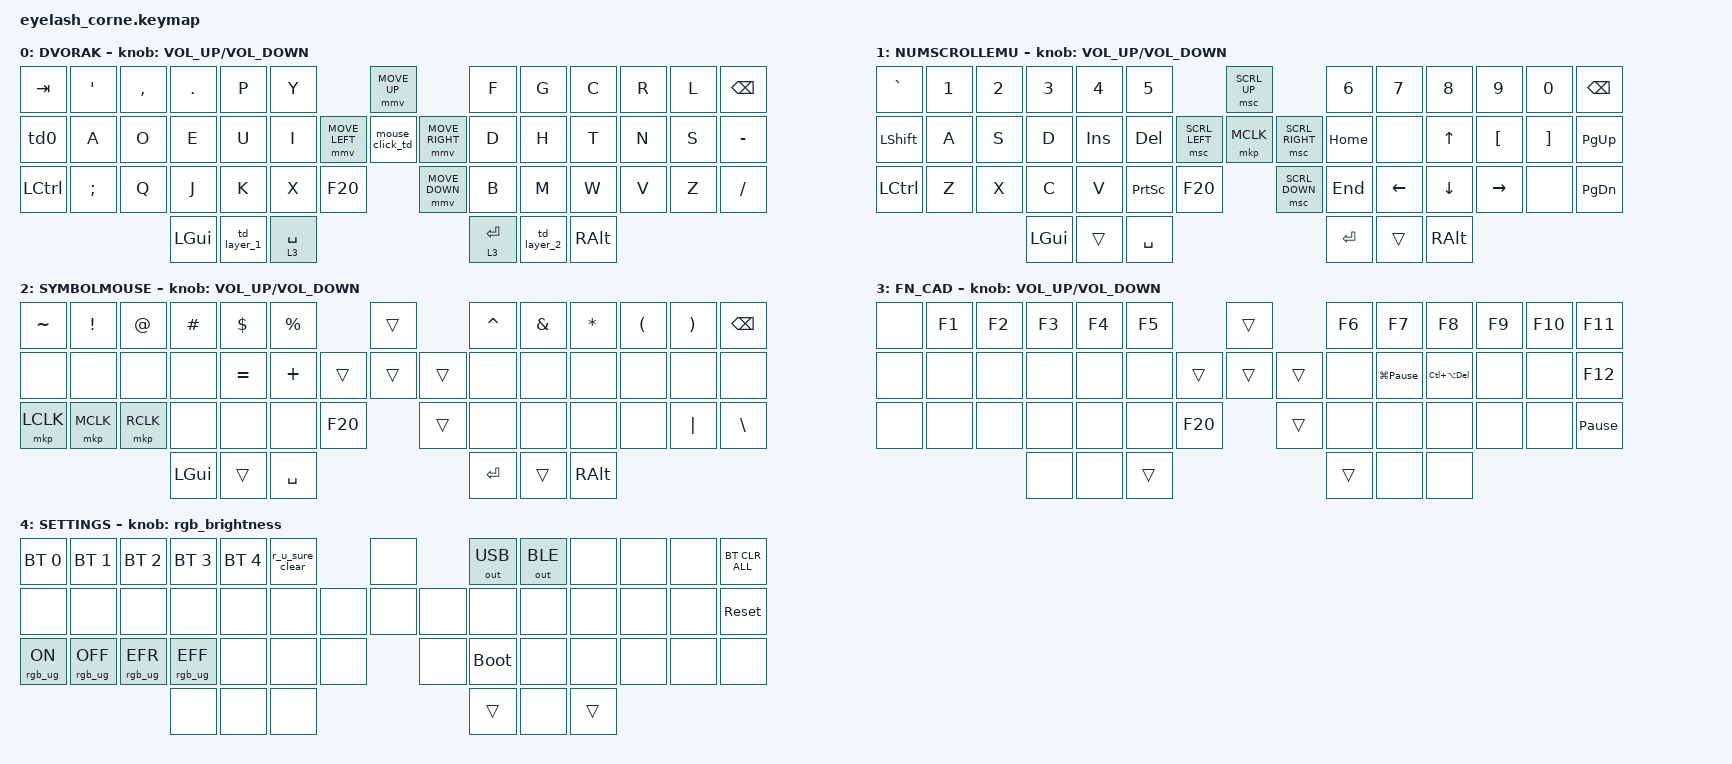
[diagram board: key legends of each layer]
#include <dt-bindings/zmk/mouse.h>
#include <input/processors.dtsi>
#include <behaviors.dtsi>
#include <dt-bindings/zmk/bt.h>
#include <dt-bindings/zmk/keys.h>
#include <dt-bindings/zmk/outputs.h>
#include <dt-bindings/zmk/pointing.h>
#include <dt-bindings/zmk/rgb.h>

/*

   &mmv_input_listener {
       input-processors = <&zip_xy_scaler 2 1>;
   };

   &msc_input_listener {
       input-processors = <&zip_xy_scaler 2 1>;
   };

 */

#define ZMK_MOUSE_DEFAULT_MOVE_VAL 1200  // 600
#define ZMK_MOUSE_DEFAULT_SCRL_VAL 20    // 10

/ {
    behaviors {
        td0: td0 {
            compatible = "zmk,behavior-tap-dance";
            display-name = "Shift/Caps Lock Tap Dance";
            #binding-cells = <0>;
            bindings = <&kp LEFT_SHIFT>, <&kp CAPS>;
        };

        mouse_click_td: mouse_click_td {
            compatible = "zmk,behavior-tap-dance";
            label = "MOUSE_CLICK_TD";
            #binding-cells = <0>;
            bindings = <&mkp LCLK>, <&mkp RCLK>;
        };

        rgb_brightness: rgb_brightness {
            compatible = "zmk,behavior-sensor-rotate";
            label = "RGB_BRIGHTNESS";
            #sensor-binding-cells = <0>;
            bindings = <&rgb_ug RGB_BRI>, <&rgb_ug RGB_BRD>;
        };

        td_layer_1: td_layer_1 {
            compatible = "zmk,behavior-tap-dance";
            label = "TD_LAYER_1";
            #binding-cells = <0>;
            bindings = <&mo 1>, <&tog 1>;
        };

        td_layer_2: td_layer_2 {
            compatible = "zmk,behavior-tap-dance";
            label = "TD_LAYER_2";
            #binding-cells = <0>;
            bindings = <&mo 2>, <&tog 2>;
        };

        r_u_sure_clear: r_u_sure_clear {
            compatible = "zmk,behavior-tap-dance";
            label = "R_U_SURE_CLEAR";
            #binding-cells = <0>;
            bindings = <&none>, <&bt BT_CLR>;
        };
    };

    rgb_encoder: rgb_encoder {
        compatible = "zmk,behavior-sensor-rotate";
        #sensor-binding-cells = <0>;
        bindings = <&rgb_ug RGB_BRI>, <&rgb_ug RGB_BRD>;
    };

    scroll_encoder: scroll_encoder {
        compatible = "zmk,behavior-sensor-rotate";
        #sensor-binding-cells = <0>;
        bindings = <&msc SCRL_DOWN>, <&msc SCRL_UP>;

        tap-ms = <30>;
    };

    combos {
        compatible = "zmk,combos";

        double_key_escape {
            bindings = <&kp ESCAPE>;
            key-positions = <0 1>;
            layers = <2>;
        };

        settings_layer_activate {
            bindings = <&mo 4>;
            key-positions = <45 47>;
        };

        to_default_layer {
            bindings = <&to 0>;
            key-positions = <42 44>;
        };
    };

    keymap {
        compatible = "zmk,keymap";

        default_layer {
            display-name = "DVORAK";
            bindings = <
&kp TAB    &kp SQT        &kp COMMA  &kp PERIOD  &kp P        &kp Y                                   &mmv MOVE_UP                      &kp F        &kp G        &kp C     &kp R  &kp L  &kp BSPC
&td0       &kp A          &kp O      &kp E       &kp U        &kp I                   &mmv MOVE_LEFT  &mouse_click_td  &mmv MOVE_RIGHT  &kp D        &kp H        &kp T     &kp N  &kp S  &kp MINUS
&kp LCTRL  &kp SEMICOLON  &kp Q      &kp J       &kp K        &kp X        &kp F20                    &mmv MOVE_DOWN                    &kp B        &kp M        &kp W     &kp V  &kp Z  &kp SLASH
                                     &kp LGUI    &td_layer_1  &lt 3 SPACE                                                               &lt 3 ENTER  &td_layer_2  &kp RALT
            >;

            sensor-bindings = <&inc_dec_kp C_VOLUME_UP C_VOLUME_DOWN>;
        };

        lower_layer {
            display-name = "NUMSCROLLEMU";
            bindings = <
&kp GRAVE       &kp N1  &kp N2  &kp N3        &kp N4      &kp N5                                      &msc SCRL_UP                     &kp N6     &kp N7    &kp N8    &kp N9            &kp N0             &kp BSPC
&kp LEFT_SHIFT  &kp A   &kp S   &kp D         &kp INSERT  &kp DELETE                  &msc SCRL_LEFT  &mkp MCLK       &msc SCRL_RIGHT  &kp HOME   &none     &kp UP    &kp LEFT_BRACKET  &kp RIGHT_BRACKET  &kp PG_UP
&kp LCTRL       &kp Z   &kp X   &kp C         &kp V       &kp PRINTSCREEN  &kp F20                    &msc SCRL_DOWN                   &kp END    &kp LEFT  &kp DOWN  &kp RIGHT         &none              &kp PG_DN
                                &kp LEFT_GUI  &trans      &kp SPACE                                                                    &kp ENTER  &trans    &kp RALT
            >;

            sensor-bindings = <&inc_dec_kp C_VOLUME_UP C_VOLUME_DOWN>;
        };

        raise_layer {
            display-name = "SYMBOLMOUSE";
            bindings = <
&kp TILDE  &kp EXCL   &kp AT     &kp HASH      &kp DLLR   &kp PRCNT                     &trans          &kp CARET  &kp AMPS  &kp ASTRK  &kp LEFT_PARENTHESIS  &kp RIGHT_PARENTHESIS  &kp BSPC
&none      &none      &none      &none         &kp EQUAL  &kp PLUS              &trans  &trans  &trans  &none      &none     &none      &none                 &none                  &none
&mkp LCLK  &mkp MCLK  &mkp RCLK  &none         &none      &none      &kp F20            &trans          &none      &none     &none      &none                 &kp PIPE               &kp BACKSLASH
                                 &kp LEFT_GUI  &trans     &kp SPACE                                     &kp RET    &trans    &kp RALT
            >;

            sensor-bindings = <&inc_dec_kp C_VOLUME_UP C_VOLUME_DOWN>;
        };

        layer_3 {
            display-name = "FN_CAD";
            bindings = <
&none  &kp F1  &kp F2  &kp F3  &kp F4  &kp F5                     &trans          &kp F6  &kp F7               &kp F8              &kp F9  &kp F10  &kp F11
&none  &none   &none   &none   &none   &none              &trans  &trans  &trans  &none   &kp LG(PAUSE_BREAK)  &kp LC(LA(DELETE))  &none   &none    &kp F12
&none  &none   &none   &none   &none   &none   &kp F20            &trans          &none   &none                &none               &none   &none    &kp PAUSE_BREAK
                       &none   &none   &trans                                     &trans  &none                &none
            >;

            sensor-bindings = <&inc_dec_kp C_VOLUME_UP C_VOLUME_DOWN>;
        };

        settings_layer {
            bindings = <
&bt BT_SEL 0    &bt BT_SEL 1     &bt BT_SEL 2     &bt BT_SEL 3     &bt BT_SEL 4  &r_u_sure_clear                  &none         &out OUT_USB  &out OUT_BLE  &none   &none  &none  &bt BT_CLR_ALL
&none           &none            &none            &none            &none         &none                     &none  &none  &none  &none         &none         &none   &none  &none  &sys_reset
&rgb_ug RGB_ON  &rgb_ug RGB_OFF  &rgb_ug RGB_EFR  &rgb_ug RGB_EFF  &none         &none            &none           &none         &bootloader   &none         &none   &none  &none  &none
                                                  &none            &none         &none                                          &trans        &none         &trans
            >;

            sensor-bindings = <&rgb_brightness>;
            label = "SETTINGS";
        };
    };
};
